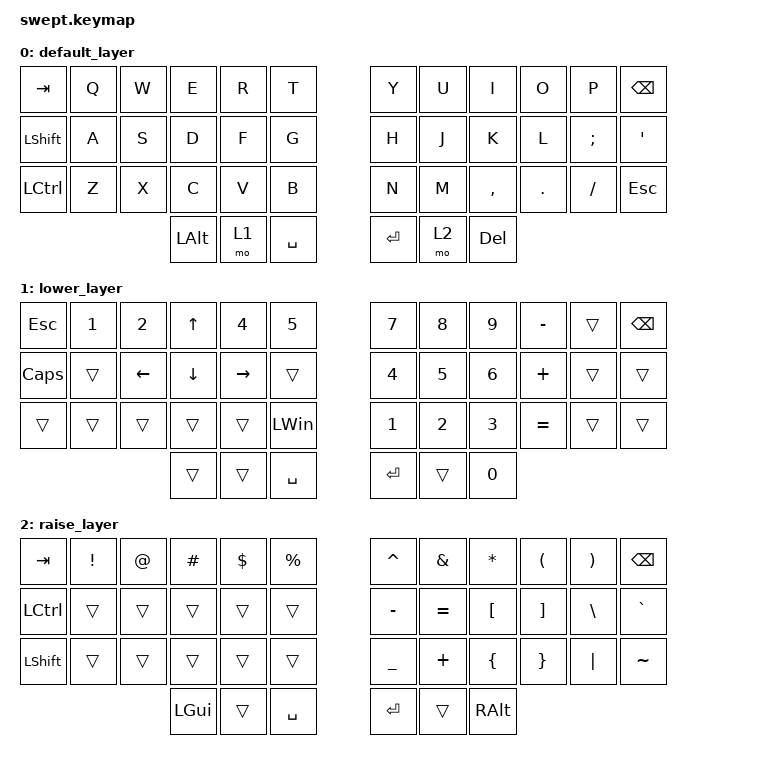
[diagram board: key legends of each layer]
/*
 * Copyright (c) 2020 The ZMK Contributors
 *
 * SPDX-License-Identifier: MIT
 */

#include <behaviors.dtsi>
#include <dt-bindings/zmk/keys.h>

/ {
    keymap {
        compatible = "zmk,keymap";

        default_layer {
            // -----------------------------------------------------------------------------------------
            // |  TAB |  Q  |  W  |  E  |  R  |  T  |   |  Y  |  U   |  I  |  O  |  P  | BSPC |
            // | CTRL |  A  |  S  |  D  |  F  |  G  |   |  H  |  J   |  K  |  L  |  ;  |  '   |
            // | SHFT |  Z  |  X  |  C  |  V  |  B  |   |  N  |  M   |  ,  |  .  |  /  | ESC  |
            //                    | GUI | LWR | SPC |   | ENT | RSE  | ALT |

            bindings = <
&kp TAB         &kp Q  &kp W  &kp E         &kp R  &kp T        &kp Y    &kp U  &kp I      &kp O    &kp P     &kp BSPC
&kp LEFT_SHIFT  &kp A  &kp S  &kp D         &kp F  &kp G        &kp H    &kp J  &kp K      &kp L    &kp SEMI  &kp SQT
&kp LCTRL       &kp Z  &kp X  &kp C         &kp V  &kp B        &kp N    &kp M  &kp COMMA  &kp DOT  &kp FSLH  &kp ESC
                              &kp LEFT_ALT  &mo 1  &kp SPACE    &kp RET  &mo 2  &kp DEL
            >;
        };

        lower_layer {
            // -----------------------------------------------------------------------------------------
            // |  TAB |  1  |  2  |  3  |  4  |  5  |   |  6  |  7  |  8  |  9  |  0  | BSPC |
            // | BTCLR| BT1 | BT2 | BT3 | BT4 | BT5 |   | LFT | DWN |  UP | RGT |     |      |
            // | SHFT |     |     |     |     |     |   |     |     |     |     |     |      |
            //                    | GUI |     | SPC |   | ENT |     | ALT |

            bindings = <
&kp ESC       &kp N1  &kp N2    &kp UP    &kp N4     &kp N5          &kp N7        &kp N8        &kp N9        &kp MINUS  &trans  &kp BSPC
&kp CAPSLOCK  &trans  &kp LEFT  &kp DOWN  &kp RIGHT  &trans          &kp NUMBER_4  &kp NUMBER_5  &kp NUMBER_6  &kp PLUS   &trans  &trans
&trans        &trans  &trans    &trans    &trans     &kp LEFT_WIN    &kp NUMBER_1  &kp NUMBER_2  &kp NUMBER_3  &kp EQUAL  &trans  &trans
                                &trans    &trans     &kp SPACE       &kp RET       &trans        &kp N0
            >;
        };

        raise_layer {
            // -----------------------------------------------------------------------------------------
            // |  TAB |  !  |  @  |  #  |  $  |  %  |   |  ^  |  &  |  *  |  (  |  )  | BSPC |
            // | CTRL |     |     |     |     |     |   |  -  |  =  |  [  |  ]  |  \  |  `   |
            // | SHFT |     |     |     |     |     |   |  _  |  +  |  {  |  }  | "|" |  ~   |
            //                    | GUI |     | SPC |   | ENT |     | ALT |

            bindings = <
&kp TAB    &kp EXCL  &kp AT  &kp HASH  &kp DLLR  &kp PRCNT    &kp CARET  &kp AMPS   &kp ASTRK  &kp LPAR  &kp RPAR  &kp BSPC
&kp LCTRL  &trans    &trans  &trans    &trans    &trans       &kp MINUS  &kp EQUAL  &kp LBKT   &kp RBKT  &kp BSLH  &kp GRAVE
&kp LSHFT  &trans    &trans  &trans    &trans    &trans       &kp UNDER  &kp PLUS   &kp LBRC   &kp RBRC  &kp PIPE  &kp TILDE
                             &kp LGUI  &trans    &kp SPACE    &kp RET    &trans     &kp RALT
            >;
        };
    };
};
